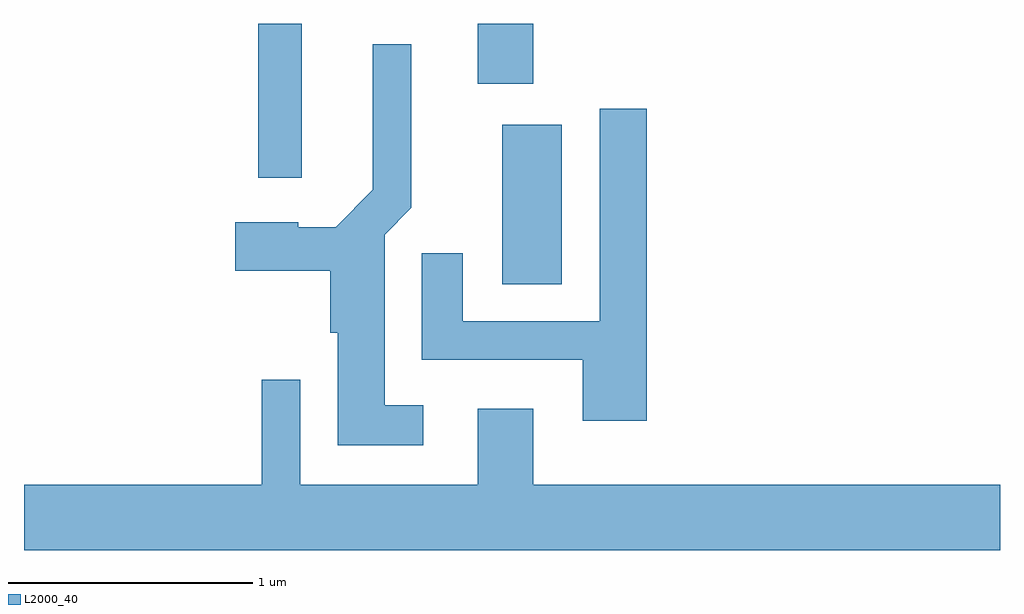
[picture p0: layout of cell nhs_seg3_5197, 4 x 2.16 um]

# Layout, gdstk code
import gdstk
lib = gdstk.Library(unit=1e-6, precision=1e-09)
def R(c, l, rs):  # rectangles x0, y0, x1, y1
    for r in rs: c.add(gdstk.rectangle(r[:2], r[2:], *l))
def P(c, l, *ps):  # polygons
    for p in ps: c.add(gdstk.Polygon(p, *l))
L2000_40 = (2000, 40)

nhs_seg3_5197 = lib.new_cell('nhs_seg3_5197')
R(nhs_seg3_5197, L2000_40, [(339.571,1184.826,339.814,1185.479), (338.571,1185.261,338.749,1185.892), (339.471,1185.646,339.699,1185.892)])
P(nhs_seg3_5197, L2000_40, [(339.248,1184.329),(339.089,1184.329),(339.089,1185.029),(339.199,1185.139),(339.199,1185.808),(339.041,1185.808),(339.041,1185.212),(338.889,1185.059),(338.734,1185.059),(338.734,1185.079),(338.476,1185.079),(338.476,1184.881),(338.866,1184.881),(338.866,1184.626),(338.896,1184.626),(338.896,1184.166),(339.248,1184.166)],
  [(340.164,1185.544),(339.971,1185.544),(339.971,1184.674),(339.409,1184.674),(339.409,1184.953),(339.241,1184.953),(339.241,1184.516),(339.901,1184.516),(339.901,1184.266),(340.164,1184.266)],
  [(341.611,1184.004),(339.699,1184.004),(339.699,1184.314),(339.471,1184.314),(339.471,1184.004),(338.744,1184.004),(338.744,1184.433),(338.586,1184.433),(338.586,1184.004),(337.611,1184.004),(337.611,1183.736),(341.611,1183.736)])

lib.write_gds('nhs_seg3_5197.gds')
